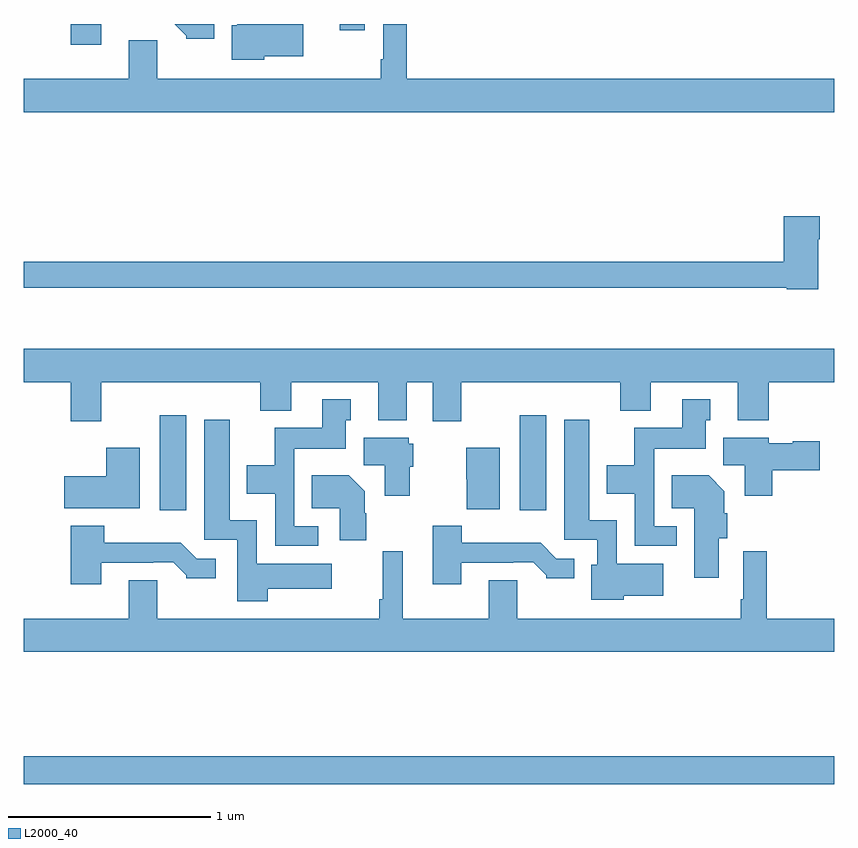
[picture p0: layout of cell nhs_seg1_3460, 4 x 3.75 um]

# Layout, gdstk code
import gdstk
lib = gdstk.Library(unit=1e-6, precision=1e-09)
def R(c, l, rs):  # rectangles x0, y0, x1, y1
    for r in rs: c.add(gdstk.rectangle(r[:2], r[2:], *l))
def P(c, l, *ps):  # polygons
    for p in ps: c.add(gdstk.Polygon(p, *l))
L2000_40 = (2000, 40)

nhs_seg1_3460 = lib.new_cell('nhs_seg1_3460')
R(nhs_seg1_3460, L2000_40, [(299,516.448,303,516.584), (299.672,517.8,299.803,518.269), (301.448,517.8,301.579,518.269), (299.231,520.097,299.383,520.199), (300.56,520.167,300.682,520.199)])
P(nhs_seg1_3460, L2000_40, [(303,519.928),(300.89,519.928),(300.89,520.199),(300.774,520.199),(300.774,520.024),(300.762,520.024),(300.762,519.928),(299.659,519.928),(299.659,520.118),(299.519,520.118),(299.519,519.928),(299,519.928),(299,519.764),(303,519.764)],
  [(300.186,520.04),(300.379,520.04),(300.379,520.198),(300.15,520.198),(300.15,520.199),(300.054,520.199),(300.054,520.194),(300.026,520.194),(300.026,520.022),(300.186,520.022)],
  [(299.941,520.199),(299.745,520.199),(299.802,520.142),(299.802,520.127),(299.941,520.127)],
  [(302.92,519.137),(302.928,519.137),(302.928,519.25),(302.75,519.25),(302.75,519.026),(299,519.026),(299,518.898),(302.766,518.898),(302.766,518.89),(302.92,518.89)],
  [(299.383,518.432),(300.167,518.432),(300.167,518.291),(300.319,518.291),(300.319,518.432),(300.749,518.432),(300.749,518.243),(300.889,518.243),(300.889,518.432),(301.019,518.432),(301.019,518.238),(301.159,518.238),(301.159,518.432),(301.943,518.432),(301.943,518.291),(302.095,518.291),(302.095,518.432),(302.525,518.432),(302.525,518.243),(302.678,518.243),(302.678,518.432),(303,518.432),(303,518.596),(299,518.596),(299,518.432),(299.231,518.432),(299.231,518.238),(299.383,518.238)],
  [(302.224,517.719),(302.112,517.719),(302.112,518.102),(302.365,518.102),(302.365,518.244),(302.389,518.244),(302.389,518.347),(302.249,518.347),(302.249,518.206),(302.014,518.206),(302.014,518.02),(301.877,518.02),(301.877,517.88),(302.016,517.88),(302.016,517.623),(302.224,517.623)],
  [(300.454,517.719),(300.336,517.719),(300.336,518.102),(300.589,518.102),(300.589,518.244),(300.613,518.244),(300.613,518.347),(300.473,518.347),(300.473,518.206),(300.238,518.206),(300.238,518.02),(300.101,518.02),(300.101,517.88),(300.24,517.88),(300.24,517.623),(300.454,517.623)],
  [(301.962,517.376),(302.155,517.376),(302.155,517.534),(301.926,517.534),(301.926,517.75),(301.792,517.75),(301.792,518.245),(301.667,518.245),(301.667,517.653),(301.83,517.653),(301.83,517.53),(301.802,517.53),(301.802,517.358),(301.962,517.358)],
  [(300.203,517.412),(300.52,517.412),(300.52,517.534),(300.15,517.534),(300.15,517.75),(300.016,517.75),(300.016,518.245),(299.891,518.245),(299.891,517.653),(300.054,517.653),(300.054,517.35),(300.203,517.35)],
  [(302.693,517.996),(302.929,517.996),(302.929,518.139),(302.796,518.139),(302.796,518.131),(302.676,518.131),(302.676,518.158),(302.453,518.158),(302.453,518.02),(302.558,518.02),(302.558,517.871),(302.693,517.871)],
  [(300.904,518.013),(300.922,518.013),(300.922,518.127),(300.9,518.127),(300.9,518.158),(300.677,518.158),(300.677,518.02),(300.782,518.02),(300.782,517.871),(300.904,517.871)],
  [(301.348,518.107),(301.184,518.107),(301.184,517.953),(301.186,517.953),(301.186,517.805),(301.348,517.805)],
  [(299.572,518.107),(299.408,518.107),(299.408,517.966),(299.199,517.966),(299.199,517.808),(299.572,517.808)],
  [(300.69,517.784),(300.682,517.784),(300.682,517.894),(300.604,517.972),(300.421,517.972),(300.421,517.808),(300.56,517.808),(300.56,517.65),(300.69,517.65)],
  [(302.431,517.662),(302.471,517.662),(302.471,517.784),(302.458,517.784),(302.458,517.894),(302.38,517.972),(302.197,517.972),(302.197,517.808),(302.309,517.808),(302.309,517.467),(302.431,517.467)],
  [(299.383,517.539),(299.639,517.539),(299.639,517.542),(299.738,517.542),(299.802,517.478),(299.802,517.463),(299.947,517.463),(299.947,517.56),(299.853,517.56),(299.775,517.639),(299.396,517.639),(299.396,517.723),(299.231,517.723),(299.231,517.434),(299.383,517.434)],
  [(301.159,517.539),(301.415,517.539),(301.415,517.542),(301.514,517.542),(301.578,517.478),(301.578,517.463),(301.717,517.463),(301.717,517.56),(301.629,517.56),(301.551,517.639),(301.162,517.639),(301.162,517.723),(301.019,517.723),(301.019,517.434),(301.159,517.434)],
  [(303,517.264),(302.666,517.264),(302.666,517.597),(302.55,517.597),(302.55,517.36),(302.538,517.36),(302.538,517.264),(301.435,517.264),(301.435,517.454),(301.295,517.454),(301.295,517.264),(300.871,517.264),(300.871,517.597),(300.772,517.597),(300.772,517.36),(300.754,517.36),(300.754,517.264),(299.659,517.264),(299.659,517.454),(299.519,517.454),(299.519,517.264),(299,517.264),(299,517.1),(303,517.1)])

lib.write_gds('nhs_seg1_3460.gds')
